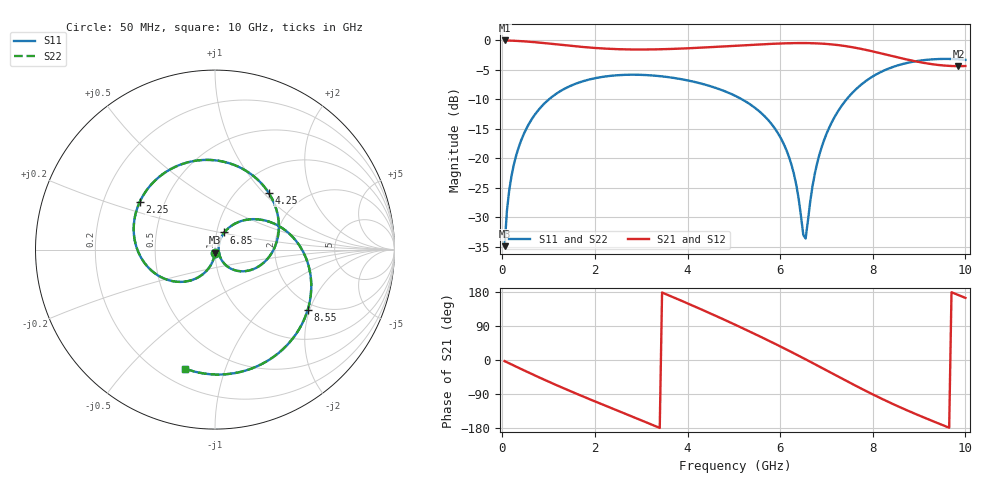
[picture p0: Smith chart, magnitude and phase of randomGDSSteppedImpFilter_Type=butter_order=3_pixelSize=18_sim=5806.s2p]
! freq	dB(S11)	phase(S11)	dB(S12)	phase(S12)
!  dB(S21)	phase(S21)	dB(S22)	phase(S22)
!S-par simulation data
#  GHz  S  DB  R 50
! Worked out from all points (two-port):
!   200 points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, 50 MHz to 10 GHz, reference 50 ohm
!   highest |S21| = -0.01 dB at 50 MHz (marker M1); lowest = -4.4 dB at 9.85 GHz (marker M2)
!   |S21| within 3 dB of the highest: start of sweep to 8.607 GHz
!   lowest |S11| = -34.9 dB at 50 MHz (marker M3), VSWR 1.04, Z = 49.9 - j1.79 ohm
!   |S11| at or under -10 dB: start of sweep to 1.006 GHz; 5.177 GHz to 7.434 GHz (2.257 GHz wide, 35.8 % of centre)
!   |S22| runs from -34.9 to -3.1 dB; largest |S21 - S12| = 0
!   S11 on the Smith chart (normalised r, x): 50 MHz: 1.00, -0.04; 2.25 GHz: 0.36, +0.25; 4.25 GHz: 1.37, +1.07; 6.85 GHz: 1.09, +0.21; 8.55 GHz: 1.80, -1.94; 10 GHz: 0.30, -0.74
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0.05  -34.91 -92.9  -0.01 -3.0  -0.01 -3.0  -34.91 -92.9
0.1  -28.90 -96.0  -0.02 -5.9  -0.02 -5.9  -28.90 -96.0
0.2  -22.95 -102.0  -0.04 -11.8  -0.04 -11.8  -22.95 -102.0
0.5  -15.29 -119.7  -0.17 -29.2  -0.17 -29.2  -15.29 -119.7
1.1  -9.41 -153.2  -0.61 -62.6  -0.61 -62.6  -9.41 -153.2
1.75  -6.91 172.8  -1.12 -96.6  -1.12 -96.6  -6.91 172.8
2.25  -6.09 147.7  -1.40 -121.7  -1.40 -121.7  -6.09 147.7
3.4  -6.06 90.4  -1.50 -179.3  -1.50 -179.3  -6.06 90.5
4.25  -7.23 46.4  -1.24 136.1  -1.24 136.1  -7.23 46.5
5.05  -9.47 3.3  -0.90 91.9  -0.90 91.9  -9.47 3.4
5.55  -12.03 -24.1  -0.68 63.0  -0.68 63.0  -12.03 -24.0
6.05  -17.12 -50.0  -0.51 33.0  -0.51 33.0  -17.12 -49.9
6.3  -22.74 -57.7  -0.46 17.5  -0.46 17.5  -22.73 -57.5
6.55  -33.60 16.9  -0.45 1.8  -0.45 1.8  -33.47 16.6
6.7  -24.66 61.9  -0.47 -7.8  -0.47 -7.8  -24.65 61.6
6.85  -19.30 61.6  -0.52 -17.5  -0.52 -17.5  -19.30 61.5
7.6  -8.56 21.4  -1.21 -66.0  -1.21 -66.0  -8.56 21.3
8.35  -4.75 -22.1  -2.52 -111.3  -2.52 -111.3  -4.75 -22.1
8.55  -4.21 -32.9  -2.90 -122.5  -2.90 -122.5  -4.21 -33.0
9.25  -3.23 -68.4  -4.00 -159.0  -4.00 -159.0  -3.23 -68.5
9.85  -3.20 -97.0  -4.37 171.4  -4.37 171.4  -3.21 -97.1
10  -3.30 -104.2  -4.34 163.9  -4.34 163.9  -3.30 -104.3
